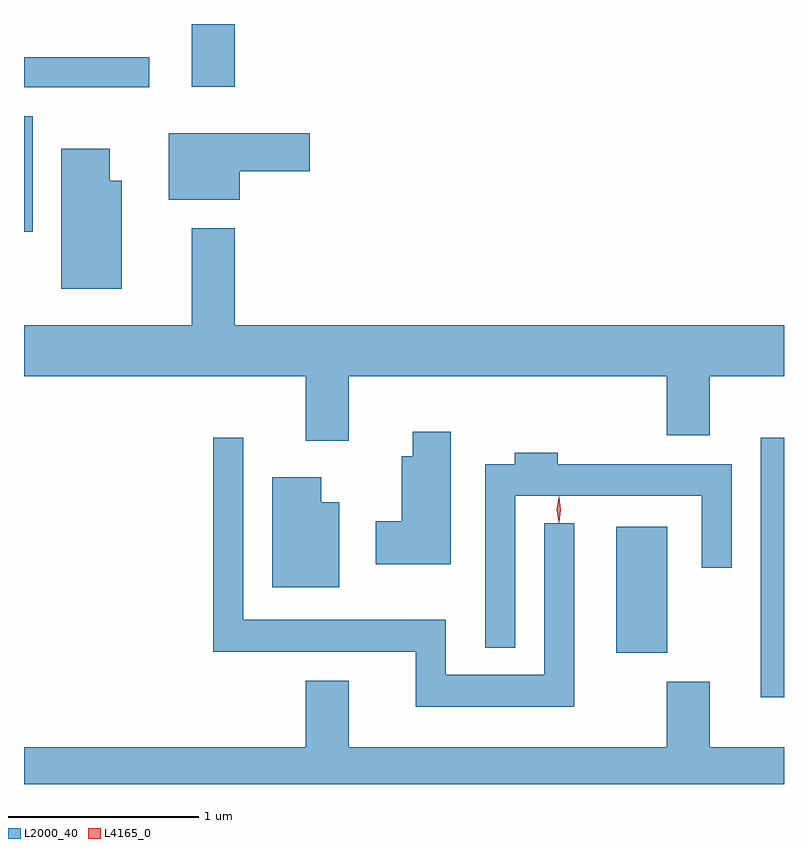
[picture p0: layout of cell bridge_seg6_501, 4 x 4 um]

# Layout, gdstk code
import gdstk
lib = gdstk.Library(unit=1e-6, precision=1e-09)
def R(c, l, rs):  # rectangles x0, y0, x1, y1
    for r in rs: c.add(gdstk.rectangle(r[:2], r[2:], *l))
def P(c, l, *ps):  # polygons
    for p in ps: c.add(gdstk.Polygon(p, *l))
L2000_40 = (2000, 40)
L4165_0 = (4165, 0)

bridge_seg6_501 = lib.new_cell('bridge_seg6_501')
R(bridge_seg6_501, L2000_40, [(554.196,1634.926,554.319,1636.293), (553.436,1635.161,553.704,1635.824), (550.319,1637.376,550.364,1637.984), (550.319,1638.136,550.978,1638.294), (551.201,1638.141,551.429,1638.47)])
P(bridge_seg6_501, L2000_40, [(551.454,1637.696),(551.824,1637.696),(551.824,1637.894),(551.081,1637.894),(551.081,1637.546),(551.454,1637.546)],
  [(550.834,1637.644),(550.769,1637.644),(550.769,1637.814),(550.516,1637.814),(550.516,1637.076),(550.834,1637.076)],
  [(552.029,1636.616),(553.701,1636.616),(553.701,1636.306),(553.929,1636.306),(553.929,1636.616),(554.319,1636.616),(554.319,1636.884),(551.429,1636.884),(551.429,1637.394),(551.201,1637.394),(551.201,1636.884),(550.319,1636.884),(550.319,1636.616),(551.801,1636.616),(551.801,1636.276),(552.029,1636.276)],
  [(552.564,1636.324),(552.366,1636.324),(552.366,1636.194),(552.306,1636.194),(552.306,1635.854),(552.171,1635.854),(552.171,1635.626),(552.564,1635.626)],
  [(553.214,1635.843),(553.056,1635.843),(553.056,1635.044),(552.539,1635.044),(552.539,1635.334),(551.474,1635.334),(551.474,1636.293),(551.316,1636.293),(551.316,1635.166),(552.381,1635.166),(552.381,1634.876),(553.214,1634.876)],
  [(552.904,1635.986),(553.886,1635.986),(553.886,1635.608),(554.044,1635.608),(554.044,1636.154),(553.129,1636.154),(553.129,1636.214),(552.901,1636.214),(552.901,1636.154),(552.746,1636.154),(552.746,1635.188),(552.904,1635.188)],
  [(551.979,1635.954),(551.884,1635.954),(551.884,1636.084),(551.626,1636.084),(551.626,1635.506),(551.979,1635.506)],
  [(552.029,1635.014),(551.801,1635.014),(551.801,1634.664),(550.319,1634.664),(550.319,1634.47),(554.319,1634.47),(554.319,1634.664),(553.929,1634.664),(553.929,1635.009),(553.701,1635.009),(553.701,1634.664),(552.029,1634.664)])
P(bridge_seg6_501, L4165_0, [(553.134,1635.847),(553.134,1635.848),(553.124,1635.914),(553.134,1635.98),(553.134,1635.981),(553.135,1635.98),(553.144,1635.914),(553.135,1635.848)],
  [(553.135,1635.844),(553.135,1635.844),(553.125,1635.914),(553.135,1635.983),(553.135,1635.983),(553.136,1635.983),(553.145,1635.914),(553.136,1635.844)])

lib.write_gds('bridge_seg6_501.gds')
